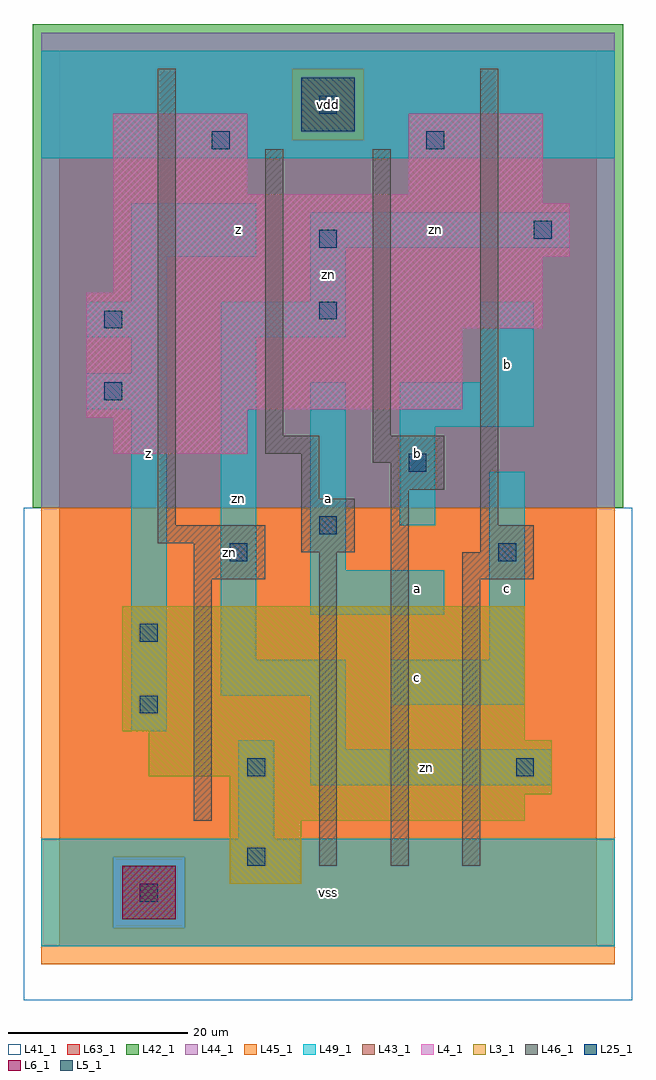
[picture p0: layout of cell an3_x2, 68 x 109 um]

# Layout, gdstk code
import gdstk
lib = gdstk.Library(unit=1e-6, precision=1e-09)
def R(c, l, rs):  # rectangles x0, y0, x1, y1
    for r in rs: c.add(gdstk.rectangle(r[:2], r[2:], *l))
L3_1 = (3, 1)
L4_1 = (4, 1)
L5_1 = (5, 1)
L6_1 = (6, 1)
L25_1 = (25, 1)
L41_1 = (41, 1)
L42_1 = (42, 1)
L43_1 = (43, 1)
L44_1 = (44, 1)
L45_1 = (45, 1)
L46_1 = (46, 1)
L49_1 = (49, 1)
L63_1 = (63, 1)

an3_x2 = lib.new_cell('an3_x2')
R(an3_x2, L3_1, [(19,7,27,14), (19,14,52,17), (19,17,55,19), (10,19,55,23), (10,23,52,24), (7,24,52,38)])
R(an3_x2, L4_1, [(6,55,21,59), (3,59,21,60), (3,60,45,69), (3,69,54,73), (6,73,54,77), (6,77,57,83), (6,83,54,84), (6,84,21,93), (39,84,54,93)])
R(an3_x2, L5_1, [(27,91,33,97)])
R(an3_x2, L6_1, [(7,3,13,9)])
R(an3_x2, L25_1, [(9,5,11,7), (21,9,23,11), (21,19,23,21), (51,19,53,21), (9,26,11,28), (9,34,11,36), (19,43,21,45), (49,43,51,45), (29,46,31,48), (39,53,41,55), (5,61,7,63), (5,69,7,71), (29,70,31,72), (29,78,31,80), (53,79,55,81), (17,89,19,91), (41,89,43,91), (29,93,31,95)])
R(an3_x2, L41_1, [(-4,-6,64,49), (-3,-3,63,49)])
R(an3_x2, L42_1, [(-3,49,63,103)])
R(an3_x2, L43_1, [(7,3,13,9), (19,7,27,14), (19,14,52,17), (19,17,55,19), (10,19,55,23), (10,23,52,24), (7,24,52,38), (6,55,21,59), (3,59,21,60), (3,60,45,69), (3,69,54,73), (6,73,54,77), (6,77,57,83), (6,83,54,84), (6,84,21,93), (39,84,54,93), (27,91,33,97)])
R(an3_x2, L44_1, [(6,2,14,10), (-2,49,62,90), (-2,90,26,98), (34,90,62,98), (-2,98,62,102)])
R(an3_x2, L45_1, [(-2,-2,62,2), (-2,2,6,10), (14,2,62,10), (-2,10,62,49), (26,90,34,98)])
R(an3_x2, L46_1, [(29,9,31,44), (37,9,39,51), (45,9,47,41), (15,14,17,41), (15,41,23,45), (45,41,53,44), (27,44,33,50), (47,44,53,47), (11,45,23,47), (11,47,13,98), (47,47,49,98), (27,50,29,55), (37,51,43,54), (35,54,43,57), (23,55,29,57), (23,57,25,89), (35,57,37,89)])
R(an3_x2, L49_1, [(-2,0,62,12), (20,12,24,23), (28,18,55,22), (28,22,32,28), (8,24,12,60), (37,27,52,32), (18,28,32,32), (18,32,22,68), (48,32,52,53), (28,37,43,42), (28,42,32,63), (38,47,42,58), (38,58,53,63), (3,60,12,64), (47,63,53,72), (8,64,12,68), (3,68,12,72), (18,68,32,72), (8,72,12,77), (28,72,32,78), (8,77,22,83), (28,78,57,82), (-2,88,62,100)])
R(an3_x2, L63_1, [(0,0,60,100)])
an3_x2.add(gdstk.Label('zn', (19,44), layer=49, texttype=1))
an3_x2.add(gdstk.Label('z', (10,55), layer=49, texttype=1))
an3_x2.add(gdstk.Label('z', (10,55), layer=49, texttype=1))
an3_x2.add(gdstk.Label('zn', (20,50), layer=49, texttype=1))
an3_x2.add(gdstk.Label('z', (20,80), layer=49, texttype=1))
an3_x2.add(gdstk.Label('z', (20,80), layer=49, texttype=1))
an3_x2.add(gdstk.Label('vss', (30,6), layer=49, texttype=1))
an3_x2.add(gdstk.Label('vss', (30,6), layer=49, texttype=1))
an3_x2.add(gdstk.Label('a', (40,40), layer=49, texttype=1))
an3_x2.add(gdstk.Label('c', (40,30), layer=49, texttype=1))
an3_x2.add(gdstk.Label('a', (40,40), layer=49, texttype=1))
an3_x2.add(gdstk.Label('c', (40,30), layer=49, texttype=1))
an3_x2.add(gdstk.Label('a', (30,50), layer=49, texttype=1))
an3_x2.add(gdstk.Label('a', (30,50), layer=49, texttype=1))
an3_x2.add(gdstk.Label('b', (40,55), layer=49, texttype=1))
an3_x2.add(gdstk.Label('b', (40,55), layer=49, texttype=1))
an3_x2.add(gdstk.Label('zn', (30,75), layer=49, texttype=1))
an3_x2.add(gdstk.Label('vdd', (30,94), layer=49, texttype=1))
an3_x2.add(gdstk.Label('vdd', (30,94), layer=49, texttype=1))
an3_x2.add(gdstk.Label('zn', (41,20), layer=49, texttype=1))
an3_x2.add(gdstk.Label('c', (50,40), layer=49, texttype=1))
an3_x2.add(gdstk.Label('c', (50,40), layer=49, texttype=1))
an3_x2.add(gdstk.Label('b', (50,65), layer=49, texttype=1))
an3_x2.add(gdstk.Label('b', (50,65), layer=49, texttype=1))
an3_x2.add(gdstk.Label('zn', (42,80), layer=49, texttype=1))

lib.write_gds('an3_x2.gds')
